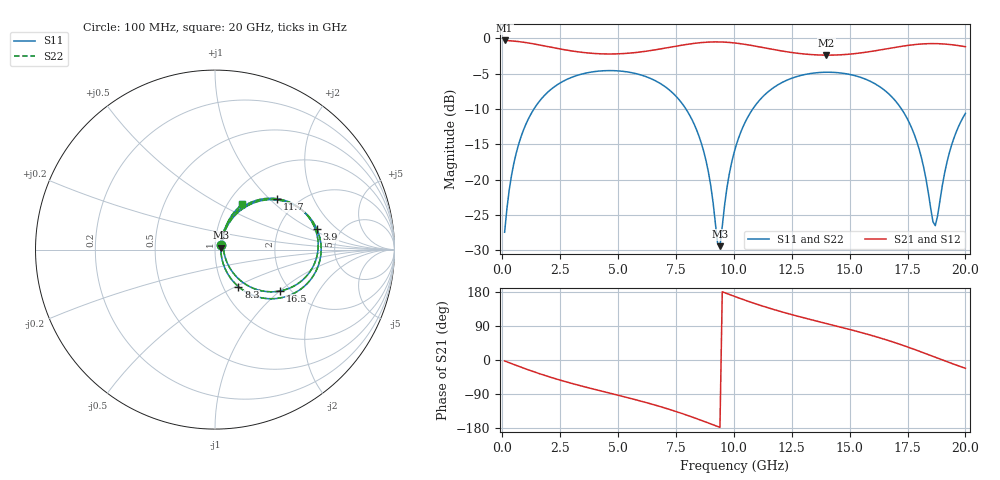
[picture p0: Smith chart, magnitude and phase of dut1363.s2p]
! Touchstone file exported from HFSS 2026.1.0
!  File:  C:/ffzhzh/LocalFiles/Ansys_Project_Files/temp_train_TSV_RDL_1363_1783344131_48288.aedt
!  Generated:  09:46:17 PM Jul  6, 2026
!  Design:  TSV_RDL
!  Project:  temp_train_TSV_RDL_1363_1783344131_48288
! Variables:
!  h_bsmrdl = 5.77um
!  h_ox = 20um
!  h_rdl = 5um
!  h_sub = 66.83um
!  h_tmrdl = 4.57um
!  h_tsv = 66.83um
!  h_via = 3um
!  l_bsmrdl = 808.35um
!  l_sub = 6574.31um
!  l_tmrdl = 904.87um
!  m_sub = 200um
!  pitch = 52.65um
!  r_tsv = 2.05um
!  s_tmrdl = 10um
!  w_bsmrdl = 25.25um
!  w_sub = 500um
!  w_tmrdl = 18.01um
!  x_tsv_center1 = 913.875um
!  x_tsv_center2 = 1747.475um
!  x_tsv_center3 = 2670.355um
!  x_tsv_center4 = 3503.955um
!  x_tsv_center5 = 4426.835um
!  x_tsv_center6 = 5260.435um
# GHz S MA R 50.000000
! Terminal data exported
! Port[1] = TM_RDL1_1_T1
! Port[2] = TM_RDL5_1_T1
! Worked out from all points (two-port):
!   200 points, 100 MHz to 20 GHz, reference 50 ohm
!   highest |S21| = -0.29 dB at 100 MHz (marker M1); lowest = -2.4 dB at 14 GHz (marker M2)
!   |S21| within 3 dB of the highest: start of sweep to end of sweep
!   lowest |S11| = -29.4 dB at 9.4 GHz (marker M3), VSWR 1.07, Z = 53.3 + j1.08 ohm
!   |S11| at or under -10 dB: start of sweep to 1.368 GHz; 7.93 GHz to 10.82 GHz (2.888 GHz wide, 30.8 % of centre); 17.24 GHz to end of sweep
!   |S22| runs from -29.4 to -4.6 dB; largest |S21 - S12| = 1.6e-14
!   S11 on the Smith chart (normalised r, x): 100 MHz: 1.07, +0.05; 3.9 GHz: 3.34, +1.13; 8.3 GHz: 1.18, -0.52; 11.7 GHz: 1.57, +1.11; 16.5 GHz: 1.78, -1.01; 20 GHz: 1.17, +0.64
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0.1  0.04239 36.5  0.9667 -2.5  0.9667 -2.5  0.04239 36.5
! Gamma 0 0 0 0
! Port Impedance 50 0 50 0
0.5  0.1307 62.4  0.9566 -11.9  0.9566 -11.9  0.1307 62.4
1.1  0.2635 56.8  0.9294 -25.4  0.9294 -25.4  0.2635 56.8
3.5  0.5626 17.2  0.7944 -69.9  0.7944 -69.9  0.5626 17.2
3.9  0.5794 11.2  0.7833 -76.2  0.7833 -76.2  0.5794 11.3
5.3  0.5819 -9.1  0.7819 -97.6  0.7819 -97.6  0.5819 -9.1
6.8  0.4818 -32.3  0.8401 -122.5  0.8401 -122.5  0.4818 -32.3
8.3  0.2441 -57.7  0.9224 -152.7  0.9224 -152.7  0.2441 -57.6
8.8  0.1358 -62.4  0.9392 -163.9  0.9392 -163.9  0.1358 -62.4
9.3  0.03519 -20.8  0.9442 -175.5  0.9442 -175.5  0.03531 -20.6
9.4  0.03379 17.4  0.9436 -177.8  0.9436 -177.8  0.03393 17.4
9.7  0.08708 61.9  0.9387 175.3  0.9387 175.3  0.08715 61.8
10.1  0.1747 64.3  0.9254 166.2  0.9254 166.2  0.1747 64.2
11.7  0.4464 39.4  0.8348 133.7  0.8348 133.7  0.4464 39.4
13.4  0.5668 13.5  0.7667 105.4  0.7667 105.4  0.5668 13.5
14  0.5759 4.9  0.7608 96.2  0.7608 96.2  0.5759 5.0
16.5  0.4303 -32.4  0.8377 54.8  0.8377 54.8  0.4303 -32.4
16.7  0.4032 -35.6  0.8488 51.0  0.8488 51.0  0.4032 -35.6
17.8  0.2073 -51.3  0.9034 27.9  0.9034 27.9  0.2073 -51.2
18.7  0.04723 12.9  0.9184 7.2  0.9184 7.2  0.04744 12.9
19.3  0.1534 64.8  0.9059 -6.6  0.9059 -6.6  0.1535 64.8
20  0.2944 58.9  0.8734 -21.9  0.8734 -21.9  0.2944 58.8
